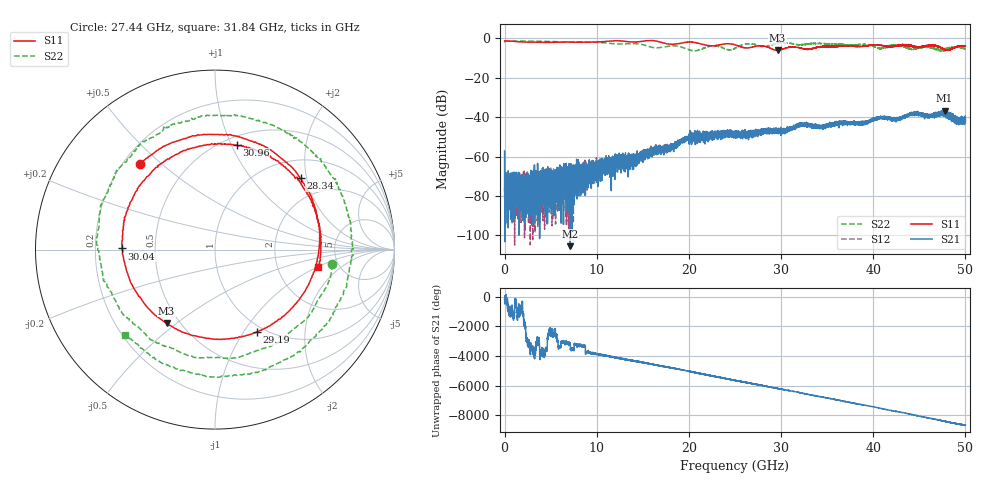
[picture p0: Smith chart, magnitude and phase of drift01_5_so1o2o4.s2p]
!Created with skrf (http://scikit-rf.org).
# Hz S RI R 50.0
!freq ReS11 ImS11 ReS21 ImS21 ReS12 ImS12 ReS22 ImS22
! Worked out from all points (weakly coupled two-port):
!   10001 points, 300 kHz to 50 GHz, reference 50 ohm
!   highest |S21| = -36.75 dB at 47.74 GHz (marker M1); lowest = -105.5 dB at 7.075 GHz (marker M2)
!   lowest |S11| = -6.2 dB at 29.62 GHz (marker M3), VSWR 2.92, Z = 21.4 - j23 ohm
!   |S11| at or under -10 dB: nowhere
!   |S22| runs from -6.7 to -1.4 dB; largest |S21 - S12| = 0.0042
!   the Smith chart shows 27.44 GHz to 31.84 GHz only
!   S11 on the Smith chart (normalised r, x): 27.44 GHz: 0.27, +0.43; 28.34 GHz: 1.42, +1.84; 29.19 GHz: 0.92, -1.15; 30.04 GHz: 0.32, +0.01; 30.96 GHz: 0.58, +1.05; 31.84 GHz: 3.48, -1.05
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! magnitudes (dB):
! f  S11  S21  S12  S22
! 300 kHz  -1.3  -57.2  -78.3  -2.1
! 255.3 MHz  -1.4  -79.3  -80.7  -1.4
! 505.3 MHz  -1.4  -76.7  -75.9  -1.4
! 5.325 GHz  -2.0  -76.7  -77.2  -1.7
! 7.075 GHz  -2.0  -105.5  -72.5  -1.9
! 8.335 GHz  -2.0  -71.0  -70.3  -1.8
! 16.67 GHz  -1.7  -55.5  -57.2  -4.8
! 20.41 GHz  -2.0  -49.6  -49.4  -6.4
! 22.59 GHz  -3.9  -50.5  -49.0  -3.8
! 25 GHz  -3.3  -49.9  -48.4  -5.1
! 27.44 GHz  -3.9  -47.7  -47.2  -3.7
! 28.34 GHz  -4.1  -47.4  -47.1  -4.2
! 29.19 GHz  -5.8  -46.9  -47.0  -3.1
! 29.62 GHz  -6.2  -46.8  -47.0  -2.5
! 30.04 GHz  -5.7  -46.3  -47.4  -2.3
! 30.96 GHz  -4.5  -45.6  -46.3  -2.5
! 31.84 GHz  -4.7  -44.2  -44.1  -3.2
! 33.34 GHz  -5.2  -44.7  -44.4  -2.7
! 41.67 GHz  -4.3  -41.0  -40.5  -4.3
! 46.44 GHz  -3.5  -39.3  -39.6  -4.8
! 47.74 GHz  -5.7  -36.7  -37.3  -5.4
! 50 GHz  -3.9  -42.8  -42.1  -5.5
